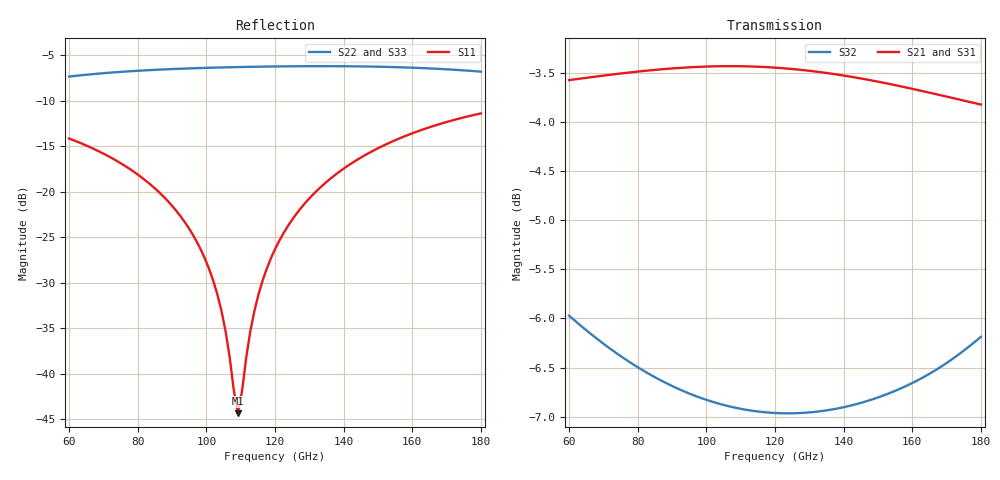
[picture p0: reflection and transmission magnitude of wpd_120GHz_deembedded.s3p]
! Created with skrf 2.0.1 (http://scikit-rf.org).
# GHz S DB R 50.0
!freq dBS11 angS11 dBS12 angS12 dBS13 angS13
! dBS21 angS21 dBS22 angS22 dBS23 angS23
! dBS31 angS31 dBS32 angS32 dBS33 angS33
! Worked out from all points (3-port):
!   101 points, 60 GHz to 180 GHz, reference 50 ohm
!   strongest paths, dB at 60 GHz, 90 GHz, 120 GHz, 150 GHz, 180 GHz:
!     S21: -3.6, -3.5, -3.4, -3.6, -3.8
!     S31: -3.6, -3.5, -3.4, -3.6, -3.8
!     S32: -6.0, -6.7, -7.0, -6.8, -6.2
!   lowest |S11| = -44.3 dB at 109.2 GHz (marker M1), VSWR 1.01, Z = 50.6 + j0.15 ohm
!   |S11| at or under -10 dB: start of sweep to end of sweep
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60  -14.15 136.8  -3.57 -43.4  -3.57 -43.4
    -3.57 -43.4  -7.34 50.3  -5.97 -98.8
    -3.57 -43.4  -5.97 -98.8  -7.33 50.3
81.6  -18.55 120.5  -3.48 -59.6  -3.48 -59.6
      -3.48 -59.6  -6.67 28.0  -6.53 -129.3
      -3.48 -59.6  -6.53 -129.3  -6.66 28.1
96  -24.67 107.2  -3.44 -70.7  -3.44 -70.7
    -3.44 -70.7  -6.43 15.7  -6.78 -149.1
    -3.44 -70.7  -6.78 -149.1  -6.42 15.7
103.2  -31.27 95.2  -3.43 -76.2  -3.43 -76.2
       -3.43 -76.2  -6.35 10.0  -6.86 -158.9
       -3.43 -76.2  -6.86 -158.9  -6.34 10.0
109.2  -44.32 14.1  -3.43 -80.9  -3.43 -80.9
       -3.43 -80.9  -6.30 5.3  -6.92 -167.0
       -3.43 -80.9  -6.92 -167.0  -6.29 5.4
114  -33.08 -63.9  -3.43 -84.6  -3.43 -84.6
     -3.43 -84.6  -6.26 1.7  -6.94 -173.5
     -3.43 -84.6  -6.94 -173.5  -6.26 1.7
120  -26.30 -76.9  -3.44 -89.3  -3.45 -89.3
     -3.44 -89.3  -6.23 -2.8  -6.96 178.4
     -3.45 -89.3  -6.96 178.4  -6.22 -2.8
128.4  -21.40 -86.0  -3.47 -95.8  -3.47 -95.8
       -3.47 -95.8  -6.20 -9.2  -6.96 167.1
       -3.47 -95.8  -6.96 167.1  -6.20 -9.1
141.6  -17.04 -97.0  -3.53 -106.0  -3.53 -106.0
       -3.53 -106.0  -6.21 -19.4  -6.89 149.2
       -3.53 -106.0  -6.89 149.2  -6.21 -19.4
180  -11.38 -124.5  -3.82 -134.8  -3.82 -134.8
     -3.82 -134.8  -6.80 -54.9  -6.19 95.8
     -3.82 -134.8  -6.19 95.8  -6.80 -54.9
